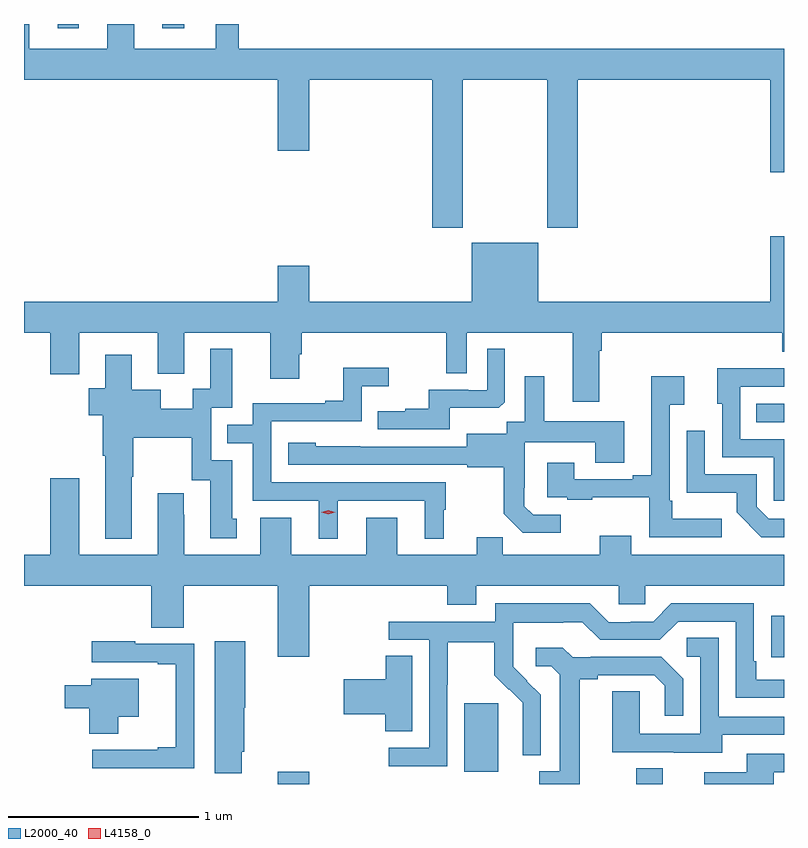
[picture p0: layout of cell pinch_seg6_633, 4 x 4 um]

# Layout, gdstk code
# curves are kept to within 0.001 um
import gdstk
lib = gdstk.Library(unit=1e-6, precision=1e-09)
def R(c, l, rs):  # rectangles x0, y0, x1, y1
    for r in rs: c.add(gdstk.rectangle(r[:2], r[2:], *l))
def P(c, l, *ps):  # polygons
    for p in ps: c.add(gdstk.Polygon(p, *l))
L2000_40 = (2000, 40)
L4158_0 = (4158, 0)

pinch_seg6_633 = lib.new_cell('pinch_seg6_633')
R(pinch_seg6_633, L2000_40, [(440.732,947.625,440.896,947.689), (442.619,947.625,442.759,947.708), (441.713,947.69,441.892,948.051), (443.329,948.292,443.396,948.511), (443.251,949.53,443.396,949.626), (439.574,951.603,439.684,951.625), (440.123,951.603,440.239,951.625)])
P(pinch_seg6_633, L2000_40, [(441.705,951.332),(442.15,951.332),(442.15,950.553),(442.31,950.553),(442.31,951.332),(443.323,951.332),(443.323,950.844),(443.396,950.844),(443.396,951.496),(440.527,951.496),(440.527,951.625),(440.405,951.625),(440.405,951.496),(439.975,951.496),(439.975,951.625),(439.835,951.625),(439.835,951.496),(439.423,951.496),(439.423,951.625),(439.396,951.625),(439.396,951.332),(440.732,951.332),(440.732,950.958),(440.896,950.958),(440.896,951.332),(441.545,951.332),(441.545,950.553),(441.705,950.553)],
  [(442.423,949.904),(442.436,949.904),(442.436,950),(443.387,950),(443.387,949.901),(443.396,949.901),(443.396,950.509),(443.323,950.509),(443.323,950.164),(442.102,950.164),(442.102,950.473),(441.752,950.473),(441.752,950.164),(440.896,950.164),(440.896,950.353),(440.732,950.353),(440.732,950.164),(439.396,950.164),(439.396,950),(439.535,950),(439.535,949.782),(439.687,949.782),(439.687,950),(440.099,950),(440.099,949.784),(440.239,949.784),(440.239,950),(440.693,950),(440.693,949.758),(440.845,949.758),(440.845,949.887),(440.858,949.887),(440.858,950),(441.618,950),(441.618,949.786),(441.726,949.786),(441.726,950),(442.283,950),(442.283,949.638),(442.423,949.638)],
  [(441.637,949.604),(441.895,949.604),(441.927,949.635),(441.927,949.915),(441.834,949.915),(441.834,949.698),(441.734,949.698),(441.734,949.701),(441.527,949.701),(441.527,949.6),(441.403,949.6),(441.403,949.588),(441.259,949.588),(441.259,949.491),(441.637,949.491)],
  [(439.963,949.243),(439.971,949.243),(439.971,949.448),(440.279,949.448),(440.279,949.224),(440.375,949.224),(440.375,948.918),(440.515,948.918),(440.515,949.02),(440.491,949.02),(440.491,949.329),(440.382,949.329),(440.382,949.605),(440.491,949.605),(440.491,949.915),(440.375,949.915),(440.375,949.706),(440.285,949.706),(440.285,949.6),(440.116,949.6),(440.116,949.699),(439.963,949.699),(439.963,949.885),(439.823,949.885),(439.823,949.707),(439.736,949.707),(439.736,949.565),(439.811,949.565),(439.811,949.352),(439.823,949.352),(439.823,948.917),(439.963,948.917)],
  [(441.046,949.116),(441.506,949.116),(441.506,948.917),(441.604,948.917),(441.604,949.068),(441.616,949.068),(441.616,949.212),(440.697,949.212),(440.697,949.533),(441.174,949.533),(441.174,949.718),(441.316,949.718),(441.316,949.817),(441.076,949.817),(441.076,949.642),(440.981,949.642),(440.981,949.629),(440.601,949.629),(440.601,949.515),(440.467,949.515),(440.467,949.419),(440.601,949.419),(440.601,949.116),(440.948,949.116),(440.948,948.917),(441.046,948.917)],
  [(443.396,949.44),(443.166,949.44),(443.166,949.716),(443.396,949.716),(443.396,949.812),(443.263,949.812),(443.263,949.814),(443.045,949.814),(443.045,949.626),(443.07,949.626),(443.07,949.344),(443.343,949.344),(443.343,949.116),(443.396,949.116)],
  [(443.068,949.021),(442.807,949.021),(442.807,949.117),(442.794,949.117),(442.794,949.622),(442.87,949.622),(442.87,949.771),(442.697,949.771),(442.697,949.249),(442.601,949.249),(442.601,949.23),(442.291,949.23),(442.291,949.315),(442.151,949.315),(442.151,949.134),(442.255,949.134),(442.255,949.122),(442.387,949.122),(442.387,949.133),(442.686,949.133),(442.686,948.924),(443.068,948.924)],
  [(442.222,949.041),(442.077,949.041),(442.03,949.088),(442.03,949.183),(442.032,949.183),(442.032,949.424),(442.403,949.424),(442.403,949.315),(442.555,949.315),(442.555,949.534),(442.135,949.534),(442.135,949.771),(442.031,949.771),(442.031,949.532),(441.936,949.532),(441.936,949.468),(441.725,949.468),(441.725,949.401),(440.931,949.402),(440.931,949.42),(440.787,949.42),(440.787,949.305),(441.729,949.305),(441.729,949.293),(441.921,949.293),(441.921,949.047),(442.021,948.947),(442.222,948.947)],
  [(443.396,949.02),(443.316,949.02),(443.253,949.083),(443.253,949.254),(442.98,949.254),(442.98,949.483),(442.884,949.483),(442.884,949.157),(443.146,949.157),(443.146,949.055),(443.276,948.924),(443.396,948.924)],
  [(439.535,949.234),(439.535,948.832),(439.396,948.832),(439.396,948.668),(440.066,948.668),(440.066,948.448),(440.237,948.448),(440.237,948.668),(440.732,948.668),(440.732,948.294),(440.896,948.294),(440.896,948.668),(441.623,948.668),(441.623,948.569),(441.775,948.569),(441.775,948.668),(442.527,948.668),(442.527,948.57),(442.665,948.57),(442.665,948.668),(443.396,948.668),(443.396,948.832),(442.591,948.832),(442.591,948.931),(442.427,948.931),(442.427,948.832),(441.917,948.832),(441.917,948.923),(441.779,948.923),(441.779,948.832),(441.361,948.832),(441.361,949.027),(441.197,949.027),(441.197,948.832),(440.803,948.832),(440.803,949.027),(440.639,949.027),(440.639,948.832),(440.239,948.832),(440.239,949.043),(440.236,949.043),(440.236,949.156),(440.099,949.156),(440.099,948.832),(439.687,948.832),(439.687,949.234)],
  [(441.624,948.148),(441.627,948.148),(441.627,948.372),(441.871,948.372),(441.871,948.197),(441.948,948.12),(441.951,948.123),(442.022,948.053),(442.022,947.93),(442.02,947.93),(442.02,947.776),(442.116,947.776),(442.116,948.094),(441.97,948.242),(441.97,948.339),(441.972,948.339),(441.972,948.473),(442.235,948.473),(442.235,948.477),(442.335,948.477),(442.428,948.384),(442.743,948.384),(442.839,948.48),(443.142,948.48),(443.142,948.078),(443.396,948.078),(443.396,948.174),(443.251,948.174),(443.251,948.271),(443.238,948.271),(443.238,948.576),(442.803,948.576),(442.707,948.48),(442.589,948.48),(442.589,948.477),(442.473,948.477),(442.373,948.577),(441.876,948.577),(441.876,948.48),(441.315,948.48),(441.315,948.384),(441.528,948.384),(441.528,947.817),(441.315,947.817),(441.315,947.719),(441.624,947.719)],
  [(443.071,947.883),(443.396,947.883),(443.396,947.979),(443.052,947.979),(443.052,948.395),(442.884,948.395),(442.884,948.294),(442.956,948.294),(442.956,947.889),(442.638,947.889),(442.638,948.113),(442.493,948.113),(442.493,947.793),(442.817,947.793),(442.817,947.789),(443.071,947.789)],
  [(439.982,947.709),(440.292,947.709),(440.292,948.363),(439.982,948.363),(439.982,948.376),(439.752,948.376),(439.752,948.267),(440.099,948.267),(440.099,948.255),(440.195,948.255),(440.195,947.818),(440.099,947.818),(440.099,947.805),(439.755,947.805),(439.755,947.708),(439.982,947.708)],
  [(440.542,947.794),(440.555,947.794),(440.555,948.027),(440.56,948.027),(440.56,948.376),(440.399,948.376),(440.399,947.682),(440.542,947.682)],
  [(442.321,948.176),(442.417,948.176),(442.417,948.198),(442.712,948.198),(442.769,948.141),(442.769,947.985),(442.866,947.985),(442.866,948.178),(442.75,948.294),(442.378,948.294),(442.378,948.291),(442.284,948.291),(442.232,948.343),(442.089,948.343),(442.089,948.246),(442.17,948.246),(442.217,948.199),(442.217,947.691),(442.107,947.691),(442.107,947.625),(442.321,947.625)],
  [(441.439,948.299),(441.301,948.299),(441.301,948.176),(441.078,948.176),(441.078,947.993),(441.296,947.993),(441.296,947.902),(441.439,947.902)],
  [(439.893,947.978),(439.999,947.978),(439.999,948.178),(439.751,948.178),(439.751,948.145),(439.611,948.145),(439.611,948.023),(439.739,948.023),(439.739,947.89),(439.893,947.89)],
  [(443.341,947.688),(443.396,947.688),(443.396,947.784),(443.201,947.784),(443.201,947.688),(442.977,947.688),(442.977,947.625),(443.341,947.625)])
P(pinch_seg6_633, L4158_0, [(440.997,949.045),(440.961,949.055),(440.961,949.055),(440.961,949.056),(440.997,949.065),(441.033,949.056),(441.033,949.055),(441.033,949.055)])

lib.write_gds('pinch_seg6_633.gds')
